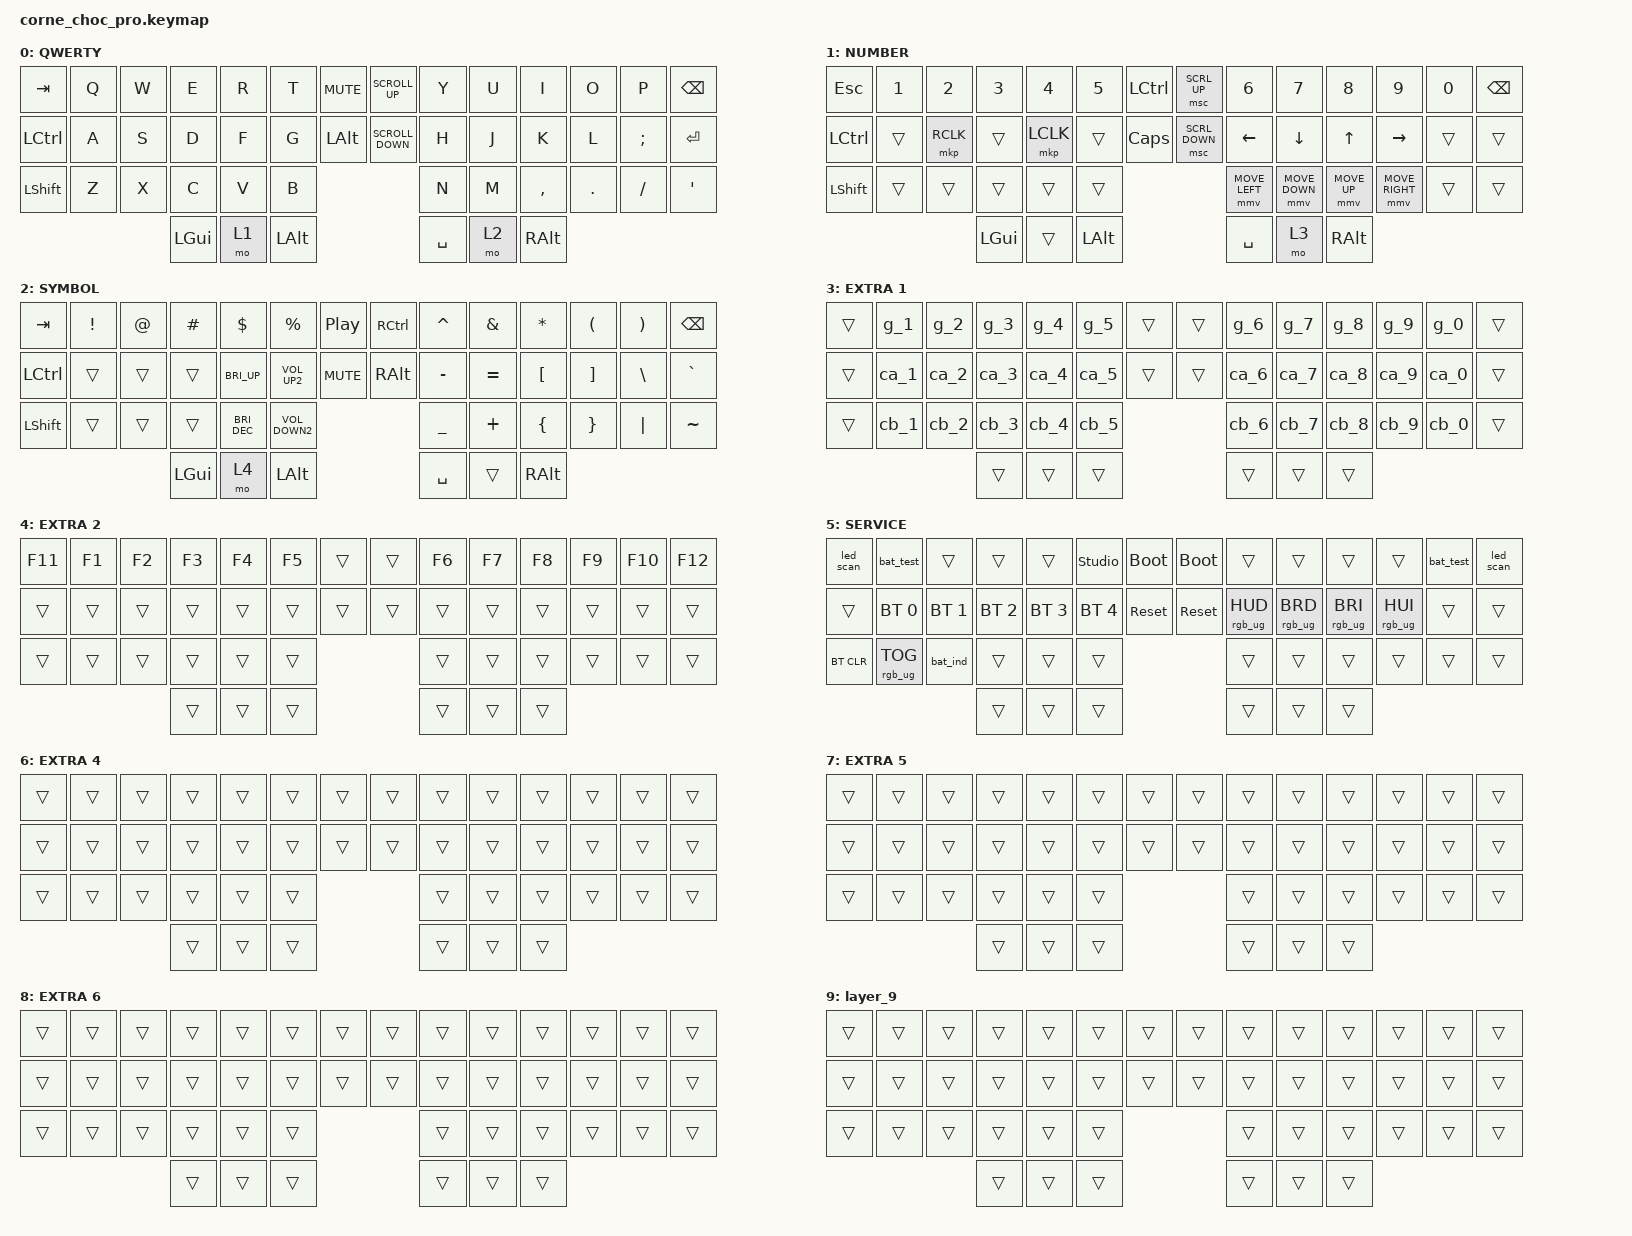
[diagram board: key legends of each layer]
/*
 * Copyright (c) 2020 The ZMK Contributors
 *
 * SPDX-License-Identifier: MIT
 */

#define ZMK_POINTING_DEFAULT_MOVE_VAL 1500

#include <behaviors.dtsi>
#include <dt-bindings/zmk/bt.h>
#include <dt-bindings/zmk/keys.h>
#include <dt-bindings/zmk/pointing.h>
#include <dt-bindings/zmk/rgb.h>

/ {
    chosen { zmk,physical-layout = &default_layout; };
};

/ {
    behaviors {
        // Shows the battery level of each half on its LEDs (see src/battery_led_indicator.c).
        // Node name must stay <= 8 chars to be relayed to the peripheral half.

        bat_ind: bat_ind {
            compatible = "zmk,behavior-battery-indicator";
            #binding-cells = <0>;
            display-name = "Battery Level";
        };

        // Plays the battery indicator from 100% down to 0% (see src/battery_led_indicator.c).

        bat_test: bat_test {
            compatible = "zmk,behavior-battery-test";
            #binding-cells = <0>;
            display-name = "Battery Test";
        };

        // Lights the LEDs of the half it is pressed on one by one (see src/led_scan.c).

        led_scan: led_scan {
            compatible = "zmk,behavior-led-scan";
            #binding-cells = <0>;
            display-name = "LED Scan";
        };
    };

    combos {
        compatible = "zmk,combos";

        service_layer {
            bindings = <&mo 5>;
            key-positions = <40 41 42>;
        };
    };

    macros {
        g_1: g_1 {
            compatible = "zmk,behavior-macro";
            #binding-cells = <0>;
            bindings = <&kp G &kp N1>;
            label = "G_1";
        };

        g_2: g_2 {
            compatible = "zmk,behavior-macro";
            #binding-cells = <0>;
            bindings = <&kp G &kp N2>;
            label = "G_2";
        };

        g_3: g_3 {
            compatible = "zmk,behavior-macro";
            #binding-cells = <0>;
            bindings = <&kp G &kp N3>;
            label = "G_3";
        };

        g_4: g_4 {
            compatible = "zmk,behavior-macro";
            #binding-cells = <0>;
            bindings = <&kp G &kp N4>;
            label = "G_4";
        };

        g_5: g_5 {
            compatible = "zmk,behavior-macro";
            #binding-cells = <0>;
            bindings = <&kp G &kp N5>;
            label = "G_5";
        };

        g_6: g_6 {
            compatible = "zmk,behavior-macro";
            #binding-cells = <0>;
            bindings = <&kp G &kp N6>;
            label = "G_6";
        };

        g_7: g_7 {
            compatible = "zmk,behavior-macro";
            #binding-cells = <0>;
            bindings = <&kp G &kp N7>;
            label = "G_7";
        };

        g_8: g_8 {
            compatible = "zmk,behavior-macro";
            #binding-cells = <0>;
            bindings = <&kp G &kp N8>;
            label = "G_8";
        };

        g_9: g_9 {
            compatible = "zmk,behavior-macro";
            #binding-cells = <0>;
            bindings = <&kp G &kp N9>;
            label = "G_9";
        };

        g_0: g_0 {
            compatible = "zmk,behavior-macro";
            #binding-cells = <0>;
            bindings = <&kp G &kp N0>;
            label = "G_0";
        };

        ca_1: ca_1 {
            compatible = "zmk,behavior-macro";
            #binding-cells = <0>;
            bindings = <&kp LC(A) &kp N1>;
            label = "CA_1";
        };

        ca_2: ca_2 {
            compatible = "zmk,behavior-macro";
            #binding-cells = <0>;
            bindings = <&kp LC(A) &kp N2>;
            label = "CA_2";
        };

        ca_3: ca_3 {
            compatible = "zmk,behavior-macro";
            #binding-cells = <0>;
            bindings = <&kp LC(A) &kp N3>;
            label = "CA_3";
        };

        ca_4: ca_4 {
            compatible = "zmk,behavior-macro";
            #binding-cells = <0>;
            bindings = <&kp LC(A) &kp N4>;
            label = "CA_4";
        };

        ca_5: ca_5 {
            compatible = "zmk,behavior-macro";
            #binding-cells = <0>;
            bindings = <&kp LC(A) &kp N5>;
            label = "CA_5";
        };

        ca_6: ca_6 {
            compatible = "zmk,behavior-macro";
            #binding-cells = <0>;
            bindings = <&kp LC(A) &kp N6>;
            label = "CA_6";
        };

        ca_7: ca_7 {
            compatible = "zmk,behavior-macro";
            #binding-cells = <0>;
            bindings = <&kp LC(A) &kp N7>;
            label = "CA_7";
        };

        ca_8: ca_8 {
            compatible = "zmk,behavior-macro";
            #binding-cells = <0>;
            bindings = <&kp LC(A) &kp N8>;
            label = "CA_8";
        };

        ca_9: ca_9 {
            compatible = "zmk,behavior-macro";
            #binding-cells = <0>;
            bindings = <&kp LC(A) &kp N9>;
            label = "CA_9";
        };

        ca_0: ca_0 {
            compatible = "zmk,behavior-macro";
            #binding-cells = <0>;
            bindings = <&kp LC(A) &kp N0>;
            label = "CA_0";
        };

        cb_1: cb_1 {
            compatible = "zmk,behavior-macro";
            #binding-cells = <0>;
            bindings = <&kp LC(B) &kp N1>;
            label = "CB_1";
        };

        cb_2: cb_2 {
            compatible = "zmk,behavior-macro";
            #binding-cells = <0>;
            bindings = <&kp LC(B) &kp N2>;
            label = "CB_2";
        };

        cb_3: cb_3 {
            compatible = "zmk,behavior-macro";
            #binding-cells = <0>;
            bindings = <&kp LC(B) &kp N3>;
            label = "CB_3";
        };

        cb_4: cb_4 {
            compatible = "zmk,behavior-macro";
            #binding-cells = <0>;
            bindings = <&kp LC(B) &kp N4>;
            label = "CB_4";
        };

        cb_5: cb_5 {
            compatible = "zmk,behavior-macro";
            #binding-cells = <0>;
            bindings = <&kp LC(B) &kp N5>;
            label = "CB_5";
        };

        cb_6: cb_6 {
            compatible = "zmk,behavior-macro";
            #binding-cells = <0>;
            bindings = <&kp LC(B) &kp N6>;
            label = "CB_6";
        };

        cb_7: cb_7 {
            compatible = "zmk,behavior-macro";
            #binding-cells = <0>;
            bindings = <&kp LC(B) &kp N7>;
            label = "CB_7";
        };

        cb_8: cb_8 {
            compatible = "zmk,behavior-macro";
            #binding-cells = <0>;
            bindings = <&kp LC(B) &kp N8>;
            label = "CB_8";
        };

        cb_9: cb_9 {
            compatible = "zmk,behavior-macro";
            #binding-cells = <0>;
            bindings = <&kp LC(B) &kp N9>;
            label = "CB_9";
        };

        cb_0: cb_0 {
            compatible = "zmk,behavior-macro";
            #binding-cells = <0>;
            bindings = <&kp LC(B) &kp N0>;
            label = "CB_0";
        };
    };

    keymap {
        compatible = "zmk,keymap";

        default_layer {
            display-name = "QWERTY";

            // --------------------------------------------------------------------------------
            // |  TAB |  Q  |  W  |  E  |  R  |  T  |  MUTE |  PP   |  Y  |  U   |  I  |  O  |  P  | BSPC |
            // | CTRL |  A  |  S  |  D  |  F  |  G  |  LALT |  RALT |  H  |  J   |  K  |  L  |  ;  |  '   |
            // | SHFT |  Z  |  X  |  C  |  V  |  B  |               |  N  |  M   |  ,  |  .  |  /  | ESC  |
            //                    | GUI | LWR | SPC |               | ENT | RSE  | ALT |

            bindings = <
&kp TAB         &kp Q  &kp W  &kp E     &kp R  &kp T     &kp C_MUTE  &kp K_SCROLL_UP    &kp Y      &kp U  &kp I      &kp O    &kp P     &kp BSPC
&kp LCTRL       &kp A  &kp S  &kp D     &kp F  &kp G     &kp LALT    &kp K_SCROLL_DOWN  &kp H      &kp J  &kp K      &kp L    &kp SEMI  &kp ENTER
&kp LEFT_SHIFT  &kp Z  &kp X  &kp C     &kp V  &kp B                                    &kp N      &kp M  &kp COMMA  &kp DOT  &kp FSLH  &kp SQT
                              &kp LGUI  &mo 1  &kp LALT                                 &kp SPACE  &mo 2  &kp RALT
            >;
        };

        lower_layer {
            display-name = "NUMBER";

            // -----------------------------------------------------------------------------------------
            // |  TAB |  1  |  2  |  3  |  4  |  5    |  LCTRL | RCTRL |  6  |  7  |  8  |  9  |  0  | BSPC |
            // | CTRL | BT1 | BT2 | BT3 | BT4 | BT5   |  LALT  | RALT  | LFT | DWN |  UP | RGT |     |      |
            // | SHFT | BTCR| RGB | RST | BOOT| Unlock|        |       |     |     |     |     |     |      |
            //                    | GUI |     | SPC   |        | ENT   |     | ALT |

            bindings = <
&kp ESC    &kp N1  &kp N2     &kp N3    &kp N4     &kp N5        &kp LCTRL  &msc SCRL_UP    &kp N6          &kp N7          &kp N8         &kp N9           &kp N0  &kp BSPC
&kp LCTRL  &trans  &mkp RCLK  &trans    &mkp LCLK  &trans        &kp CAPS   &msc SCRL_DOWN  &kp LEFT        &kp DOWN        &kp UP         &kp RIGHT        &trans  &trans
&kp LSHFT  &trans  &trans     &trans    &trans     &trans                                   &mmv MOVE_LEFT  &mmv MOVE_DOWN  &mmv MOVE_UP   &mmv MOVE_RIGHT  &trans  &trans
                              &kp LGUI  &trans     &kp LEFT_ALT                             &kp SPACE       &mo 3           &kp RIGHT_ALT
            >;
        };

        raise_layer {
            display-name = "SYMBOL";

            // -----------------------------------------------------------------------------------------
            // |  TAB |  !  |  @  |  #  |  $  |  %  | LCTRL | RCTRL |  ^  |  &  |  *  |  (  |  )  | BSPC |
            // | CTRL | HUD | HUI |     |     |     |  LALT | RALT  |  -  |  =  |  [  |  ]  |  \  |  `   |
            // | SHFT |     |     |     |     |     |               |  _  |  +  |  {  |  }  | "|" |  ~   |
            //                    | GUI |     | SPC |               | ENT |     | ALT |

            bindings = <
&kp TAB    &kp EXCL  &kp AT  &kp HASH  &kp DLLR       &kp PRCNT           &kp C_PLAY_PAUSE  &kp RCTRL  &kp CARET  &kp AMPS   &kp ASTRK  &kp LPAR  &kp RPAR  &kp BSPC
&kp LCTRL  &trans    &trans  &trans    &kp C_BRI_UP   &kp K_VOLUME_UP2    &kp K_MUTE        &kp RALT   &kp MINUS  &kp EQUAL  &kp LBKT   &kp RBKT  &kp BSLH  &kp GRAVE
&kp LSHFT  &trans    &trans  &trans    &kp C_BRI_DEC  &kp K_VOLUME_DOWN2                               &kp UNDER  &kp PLUS   &kp LBRC   &kp RBRC  &kp PIPE  &kp TILDE
                             &kp LGUI  &mo 4          &kp LEFT_ALT                                     &kp SPACE  &trans     &kp RALT
            >;
        };

        navigation_layer {
            display-name = "EXTRA 1";
            bindings = <
&trans  &g_1   &g_2   &g_3    &g_4    &g_5    &trans  &trans  &g_6    &g_7    &g_8    &g_9   &g_0   &trans
&trans  &ca_1  &ca_2  &ca_3   &ca_4   &ca_5   &trans  &trans  &ca_6   &ca_7   &ca_8   &ca_9  &ca_0  &trans
&trans  &cb_1  &cb_2  &cb_3   &cb_4   &cb_5                   &cb_6   &cb_7   &cb_8   &cb_9  &cb_0  &trans
                      &trans  &trans  &trans                  &trans  &trans  &trans
            >;
        };

        f_layer {
            display-name = "EXTRA 2";
            bindings = <
&kp F11  &kp F1  &kp F2  &kp F3  &kp F4  &kp F5  &trans  &trans  &kp F6  &kp F7  &kp F8  &kp F9  &kp F10  &kp F12
&trans   &trans  &trans  &trans  &trans  &trans  &trans  &trans  &trans  &trans  &trans  &trans  &trans   &trans
&trans   &trans  &trans  &trans  &trans  &trans                  &trans  &trans  &trans  &trans  &trans   &trans
                         &trans  &trans  &trans                  &trans  &trans  &trans
            >;
        };

        service_layer {
            display-name = "SERVICE";
            bindings = <
&led_scan   &bat_test        &trans        &trans        &trans        &studio_unlock  &bootloader  &bootloader  &trans           &trans           &trans           &trans           &bat_test  &led_scan
&trans      &bt BT_SEL 0     &bt BT_SEL 1  &bt BT_SEL 2  &bt BT_SEL 3  &bt BT_SEL 4    &sys_reset   &sys_reset   &rgb_ug RGB_HUD  &rgb_ug RGB_BRD  &rgb_ug RGB_BRI  &rgb_ug RGB_HUI  &trans     &trans
&bt BT_CLR  &rgb_ug RGB_TOG  &bat_ind      &trans        &trans        &trans                                    &trans           &trans           &trans           &trans           &trans     &trans
                                           &trans        &trans        &trans                                    &trans           &trans           &trans
            >;
        };

        extra_layer_4 {
            display-name = "EXTRA 4";
            bindings = <
&trans  &trans  &trans  &trans  &trans  &trans  &trans  &trans  &trans  &trans  &trans  &trans  &trans  &trans
&trans  &trans  &trans  &trans  &trans  &trans  &trans  &trans  &trans  &trans  &trans  &trans  &trans  &trans
&trans  &trans  &trans  &trans  &trans  &trans                  &trans  &trans  &trans  &trans  &trans  &trans
                        &trans  &trans  &trans                  &trans  &trans  &trans
            >;
        };

        extra_layer_5 {
            display-name = "EXTRA 5";
            bindings = <
&trans  &trans  &trans  &trans  &trans  &trans  &trans  &trans  &trans  &trans  &trans  &trans  &trans  &trans
&trans  &trans  &trans  &trans  &trans  &trans  &trans  &trans  &trans  &trans  &trans  &trans  &trans  &trans
&trans  &trans  &trans  &trans  &trans  &trans                  &trans  &trans  &trans  &trans  &trans  &trans
                        &trans  &trans  &trans                  &trans  &trans  &trans
            >;
        };

        extra_layer_6 {
            display-name = "EXTRA 6";
            bindings = <
&trans  &trans  &trans  &trans  &trans  &trans  &trans  &trans  &trans  &trans  &trans  &trans  &trans  &trans
&trans  &trans  &trans  &trans  &trans  &trans  &trans  &trans  &trans  &trans  &trans  &trans  &trans  &trans
&trans  &trans  &trans  &trans  &trans  &trans                  &trans  &trans  &trans  &trans  &trans  &trans
                        &trans  &trans  &trans                  &trans  &trans  &trans
            >;
        };

        layer_9 {
            bindings = <
&trans  &trans  &trans  &trans  &trans  &trans  &trans  &trans  &trans  &trans  &trans  &trans  &trans  &trans
&trans  &trans  &trans  &trans  &trans  &trans  &trans  &trans  &trans  &trans  &trans  &trans  &trans  &trans
&trans  &trans  &trans  &trans  &trans  &trans                  &trans  &trans  &trans  &trans  &trans  &trans
                        &trans  &trans  &trans                  &trans  &trans  &trans
            >;
        };
    };
};
